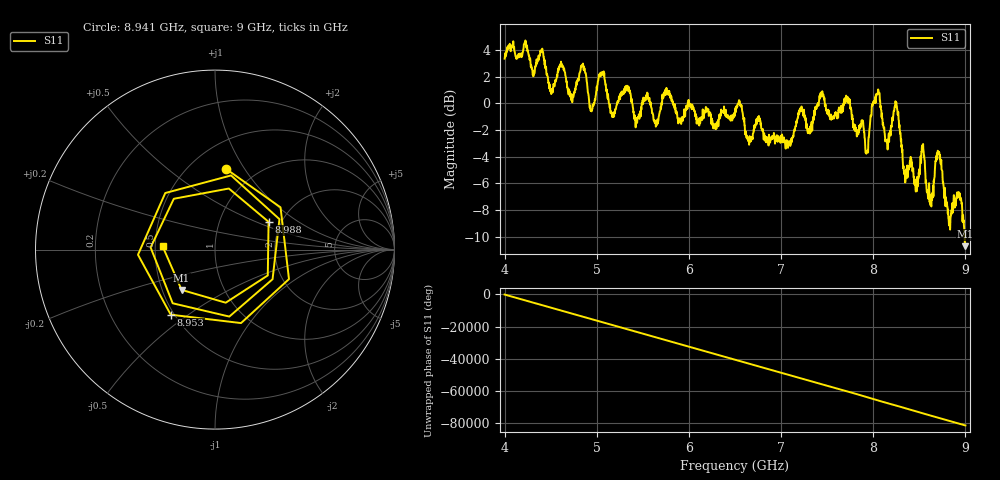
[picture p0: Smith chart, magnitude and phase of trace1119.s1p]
! Created with skrf 1.8.0 (http://scikit-rf.org).
# Hz S RI R 50.0
!freq ReS11 ImS11
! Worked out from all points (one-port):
!   1601 points, 4 GHz to 9 GHz, reference 50 ohm
!   lowest |S11| = -10.7 dB at 8.997 GHz (marker M1), VSWR 1.82, Z = 31.4 - j15.4 ohm
!   |S11| at or under -10 dB: 8.99228 GHz to end of sweep
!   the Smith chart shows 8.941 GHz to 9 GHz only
!   S11 on the Smith chart (normalised r, x): 8.941 GHz: 0.74, +0.83; 8.953 GHz: 0.48, -0.43; 8.988 GHz: 1.72, +0.60; 9 GHz: 0.55, +0.02
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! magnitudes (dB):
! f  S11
! 4 GHz  3.4
! 4.509 GHz  0.8
! 4.625 GHz  2.9
! 4.734 GHz  0.1
! 4.853 GHz  2.8
! 4.944 GHz  -0.6
! 5.05 GHz  2.3
! 5.172 GHz  -0.8
! 5.25 GHz  0.5
! 5.875 GHz  -1.1
! 6.5 GHz  -0.8
! 7.125 GHz  -2.6
! 7.438 GHz  0.7
! 7.75 GHz  -0.4
! 7.931 GHz  -3.6
! 8.044 GHz  0.7
! 8.147 GHz  -2.8
! 8.247 GHz  -0.1
! 8.375 GHz  -5.5
! 8.538 GHz  -3.4
! 8.622 GHz  -7.6
! 8.706 GHz  -3.8
! 8.822 GHz  -9.1
! 8.941 GHz  -6.9
! 8.953 GHz  -7.2
! 8.988 GHz  -9.5
! 8.997 GHz  -10.7
! 9 GHz  -10.7
